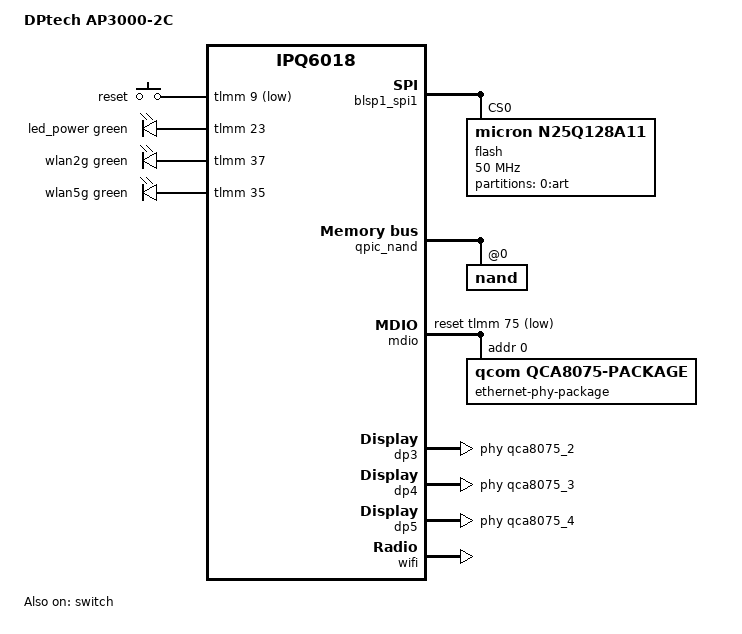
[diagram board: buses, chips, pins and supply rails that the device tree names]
// SPDX-License-Identifier: GPL-2.0-or-later OR MIT

/dts-v1/;

#include "ipq6018.dtsi"
#include "ipq6018-ess.dtsi"
#include "ipq6018-nss.dtsi"
#include "ipq6018-common.dtsi"

/ {
	model = "DPtech AP3000-2C";
	compatible = "dptech,ap3000-2c", "qcom,ipq6018";

	aliases {
		ethernet2 = &dp3;
		ethernet3 = &dp4;
		ethernet4 = &dp5;

		label-mac-device = &dp4;
		serial0 = &blsp1_uart3;

		led-boot = &led_power;
		led-failsafe = &led_power;
		led-running = &led_power;
		led-upgrade = &led_power;
	};

	chosen {
		stdout-path = "serial0:115200n8";
		bootargs-append = " root=/dev/ubiblock0_1";
	};

	keys {
		compatible = "gpio-keys";

		reset {
			label = "reset";
			linux,code = <KEY_RESTART>;
			gpios = <&tlmm 9 GPIO_ACTIVE_LOW>;
		};
	};

	leds {
		compatible = "gpio-leds";

		led_power: power {
			color = <LED_COLOR_ID_GREEN>;
			function = LED_FUNCTION_POWER;
			gpios = <&tlmm 23 GPIO_ACTIVE_HIGH>;
		};

		wlan2g {
			color = <LED_COLOR_ID_GREEN>;
			function = LED_FUNCTION_WLAN_2GHZ;
			gpios = <&tlmm 37 GPIO_ACTIVE_HIGH>;
			linux,default-trigger = "phy1radio";
		};

		wlan5g {
			color = <LED_COLOR_ID_GREEN>;
			function = LED_FUNCTION_WLAN_5GHZ;
			gpios = <&tlmm 35 GPIO_ACTIVE_HIGH>;
			linux,default-trigger = "phy0radio";
		};
	};
};

&blsp1_spi1 {
	status = "okay";

	flash@0 {
		/*
		 * U-boot looks for "n25q128a11" node,
		 * if we don't have it, it will spit out the following warning:
		 * "ipq: fdt fixup unable to find compatible node".
		 */
		linux,modalias = "m25p80", "n25q128a11";
		compatible = "micron,n25q128a11", "jedec,spi-nor";
		spi-max-frequency = <50000000>;
		reg = <0>;

		partitions {
			compatible = "qcom,smem-part";
			qcom,smem-flash-id = <0>;

			partition-0-art {
				label = "0:art";
				read-only;

				nvmem-layout {
					compatible = "fixed-layout";
					#address-cells = <1>;
					#size-cells = <1>;

					macaddr_wan: macaddr@0 {
						reg = <0x0 0x6>;
					};

					macaddr_lan: macaddr@6 {
						reg = <0x6 0x6>;
					};
				};
			};
		};
	};
};

&qpic_nand {
	status = "okay";

	nand@0 {
		reg = <0>;

		nand-ecc-strength = <4>;
		nand-ecc-step-size = <512>;
		nand-bus-width = <8>;

		partitions {
			compatible = "qcom,smem-part";
			qcom,smem-flash-id = <1>;
		};
	};
};

&mdio {
	status = "okay";

	pinctrl-0 = <&mdio_pins>;
	pinctrl-names = "default";
	reset-gpios = <&tlmm 75 GPIO_ACTIVE_LOW>;

	ethernet-phy-package@0 {
		compatible = "qcom,qca8075-package";
		qcom,package-mode = "psgmii";
		#address-cells = <1>;
		#size-cells = <0>;
		reg = <0>;

		qca8075_2: ethernet-phy@2 {
			compatible = "ethernet-phy-ieee802.3-c22";
			reg = <2>;
		};

		qca8075_3: ethernet-phy@3 {
			compatible = "ethernet-phy-ieee802.3-c22";
			reg = <3>;
		};

		qca8075_4: ethernet-phy@4 {
			compatible = "ethernet-phy-ieee802.3-c22";
			reg = <4>;
		};
	};
};

&switch {
	status = "okay";

	switch_lan_bmp = <(ESS_PORT4|ESS_PORT5)>;
	switch_wan_bmp = <ESS_PORT3>;
	switch_mac_mode = <MAC_MODE_PSGMII>;

	qcom,port_phyinfo {
		port@3 {
			port_id = <3>;
			phy_address = <2>;
		};

		port@4 {
			port_id = <4>;
			phy_address = <3>;
		};

		port@5 {
			port_id = <5>;
			phy_address = <4>;
		};
	};
};

&edma {
	status = "okay";
};

&dp3 {
	status = "okay";
	phy-handle = <&qca8075_2>;
	label = "wan";
	nvmem-cells = <&macaddr_wan>;
	nvmem-cell-names = "mac-address";
};

&dp4 {
	status = "okay";
	phy-handle = <&qca8075_3>;
	label = "lan1";
	nvmem-cells = <&macaddr_lan>;
	nvmem-cell-names = "mac-address";
};

&dp5 {
	status = "okay";
	phy-handle = <&qca8075_4>;
	label = "lan2";
	nvmem-cells = <&macaddr_lan>;
	nvmem-cell-names = "mac-address";
};

&wifi {
	status = "okay";
	qcom,ath11k-fw-memory-mode = <1>;
	qcom,ath11k-calibration-variant = "DPtech-AP3000-2C";
};
